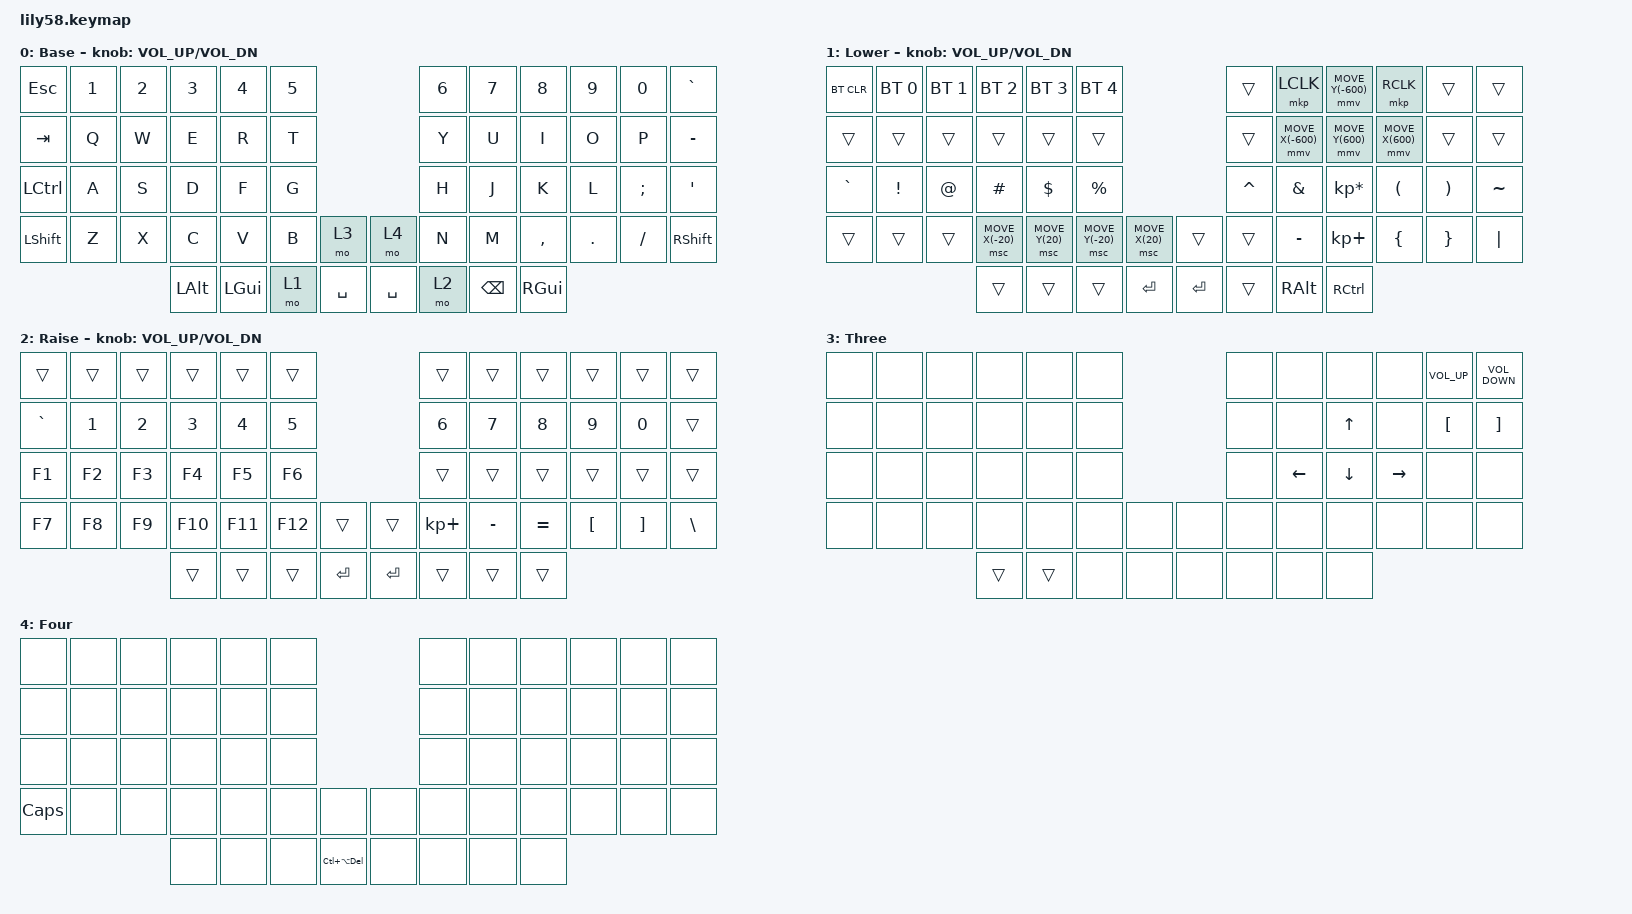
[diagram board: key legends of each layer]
/*
 * Copyright (c) 2020 The ZMK Contributors
 *
 * SPDX-License-Identifier: MIT
 */

#include <behaviors.dtsi>
#include <dt-bindings/zmk/bt.h>
#include <dt-bindings/zmk/keys.h>
#include <dt-bindings/zmk/pointing.h>

/ {
    keymap {
        compatible = "zmk,keymap";

        Zero {
            // ------------------------------------------------------------------------------------------------------------
            // |  ESC  |  1  |  2  |  3   |  4   |  5   |                   |  6   |  7    |  8    |  9   |   0   |   `   |
            // |  TAB  |  Q  |  W  |  E   |  R   |  T   |                   |  Y   |  U    |  I    |  O   |   P   |   -   |
            // |  CTRL |  A  |  S  |  D   |  F   |  G   |                   |  H   |  J    |  K    |  L   |   ;   |   '   |
            // | SHIFT |  Z  |  X  |  C   |  V   |  B   |   "["  |  |  "]"  |  N   |  M    |  ,    |  .   |   /   | SHIFT |
            //                     | ALT  | GUI  | LOWER|  SPACE |  | ENTER | RAISE| BSPC  | GUI   |

            display-name = "Base";
            bindings = <
&kp ESC    &kp N1  &kp N2  &kp N3    &kp N4    &kp N5                          &kp N6  &kp N7    &kp N8     &kp N9   &kp N0    &kp GRAVE
&kp TAB    &kp Q   &kp W   &kp E     &kp R     &kp T                           &kp Y   &kp U     &kp I      &kp O    &kp P     &kp MINUS
&kp LCTRL  &kp A   &kp S   &kp D     &kp F     &kp G                           &kp H   &kp J     &kp K      &kp L    &kp SEMI  &kp SQT
&kp LSHFT  &kp Z   &kp X   &kp C     &kp V     &kp B   &mo 3        &mo 4      &kp N   &kp M     &kp COMMA  &kp DOT  &kp FSLH  &kp RSHFT
                           &kp LALT  &kp LGUI  &mo 1   &kp SPACE    &kp SPACE  &mo 2   &kp BSPC  &kp RGUI
            >;

            sensor-bindings = <&inc_dec_kp C_VOL_UP C_VOL_DN>;
        };

        One {
            // ------------------------------------------------------------------------------------------------------------
            // | BTCLR | BT1 | BT2 |  BT3 |  BT4 |  BT5 |                   |      |       |       |      |       |       |
            // |  F1   |  F2 |  F3 |  F4  |  F5  |  F6  |                   |  F7  |  F8   |  F9   |  F10 |  F11  |  F12  |
            // |   `   |  !  |  @  |  #   |  $   |  %   |                   |  ^   |  &    |  *    |  (   |   )   |   ~   |
            // |       |     |     |      |      |      |        |  |       |      |  _    |  +    |  {   |   }   |  "|"  |
            //                     |      |      |      |        |  |       |      |       |       |

            display-name = "Lower";
            bindings = <
&bt BT_CLR  &bt BT_SEL 0  &bt BT_SEL 1  &bt BT_SEL 2      &bt BT_SEL 3     &bt BT_SEL 4                                  &trans     &mkp LCLK          &mmv MOVE_Y(-600)  &mkp RCLK         &trans    &trans
&trans      &trans        &trans        &trans            &trans           &trans                                        &trans     &mmv MOVE_X(-600)  &mmv MOVE_Y(600)   &mmv MOVE_X(600)  &trans    &trans
&kp GRAVE   &kp EXCL      &kp AT        &kp HASH          &kp DOLLAR       &kp PRCNT                                     &kp CARET  &kp AMPS           &kp KP_MULTIPLY    &kp LPAR          &kp RPAR  &kp TILDE
&trans      &trans        &trans        &msc MOVE_X(-20)  &msc MOVE_Y(20)  &msc MOVE_Y(-20)  &msc MOVE_X(20)    &trans   &trans     &kp MINUS          &kp KP_PLUS        &kp LBRC          &kp RBRC  &kp PIPE
                                        &trans            &trans           &trans            &kp RET            &kp RET  &trans     &kp RIGHT_ALT      &kp RIGHT_CONTROL
            >;

            sensor-bindings = <&inc_dec_kp C_VOL_UP C_VOL_DN>;
        };

        Two {
            // ------------------------------------------------------------------------------------------------------------
            // |       |     |     |      |      |      |                   |      |       |       |      |       |       |
            // |   `   |  1  |  2  |  3   |  4   |  5   |                   |  6   |   7   |   8   |  9   |   0   |       |
            // |   F1  |  F2 |  F3 |  F4  |  F5  |  F6  |                   |      |   <-  |   v   |  ^   |  ->   |       |
            // |   F7  |  F8 |  F9 |  F10 |  F11 |  F12 |        |  |       |  +   |   -   |   =   |  [   |   ]   |   \   |
            //                     |      |      |      |        |  |       |      |       |       |

            display-name = "Raise";
            bindings = <
&trans     &trans  &trans  &trans   &trans   &trans                       &trans       &trans     &trans     &trans    &trans    &trans
&kp GRAVE  &kp N1  &kp N2  &kp N3   &kp N4   &kp N5                       &kp N6       &kp N7     &kp N8     &kp N9    &kp N0    &trans
&kp F1     &kp F2  &kp F3  &kp F4   &kp F5   &kp F6                       &trans       &trans     &trans     &trans    &trans    &trans
&kp F7     &kp F8  &kp F9  &kp F10  &kp F11  &kp F12  &trans     &trans   &kp KP_PLUS  &kp MINUS  &kp EQUAL  &kp LBKT  &kp RBKT  &kp BSLH
                           &trans   &trans   &trans   &kp RET    &kp RET  &trans       &trans     &trans
            >;

            sensor-bindings = <&inc_dec_kp C_VOL_UP C_VOL_DN>;
        };

        Three {
            bindings = <
&none  &none  &none  &none   &none   &none                  &none  &none           &none           &none      &kp C_VOLUME_UP  &kp C_VOLUME_DOWN
&none  &none  &none  &none   &none   &none                  &none  &none           &kp UP_ARROW    &none      &kp LBKT         &kp RBKT
&none  &none  &none  &none   &none   &none                  &none  &kp LEFT_ARROW  &kp DOWN_ARROW  &kp RIGHT  &none            &none
&none  &none  &none  &none   &none   &none  &none    &none  &none  &none           &none           &none      &none            &none
                     &trans  &trans  &none  &none    &none  &none  &none           &none
            >;
        };

        Four {
            bindings = <
&none         &none  &none  &none  &none  &none                            &none  &none  &none  &none  &none  &none
&none         &none  &none  &none  &none  &none                            &none  &none  &none  &none  &none  &none
&none         &none  &none  &none  &none  &none                            &none  &none  &none  &none  &none  &none
&kp CAPSLOCK  &none  &none  &none  &none  &none  &none              &none  &none  &none  &none  &none  &none  &none
                            &none  &none  &none  &kp LC(LA(DEL))    &none  &none  &none  &none
            >;
        };
    };
};
